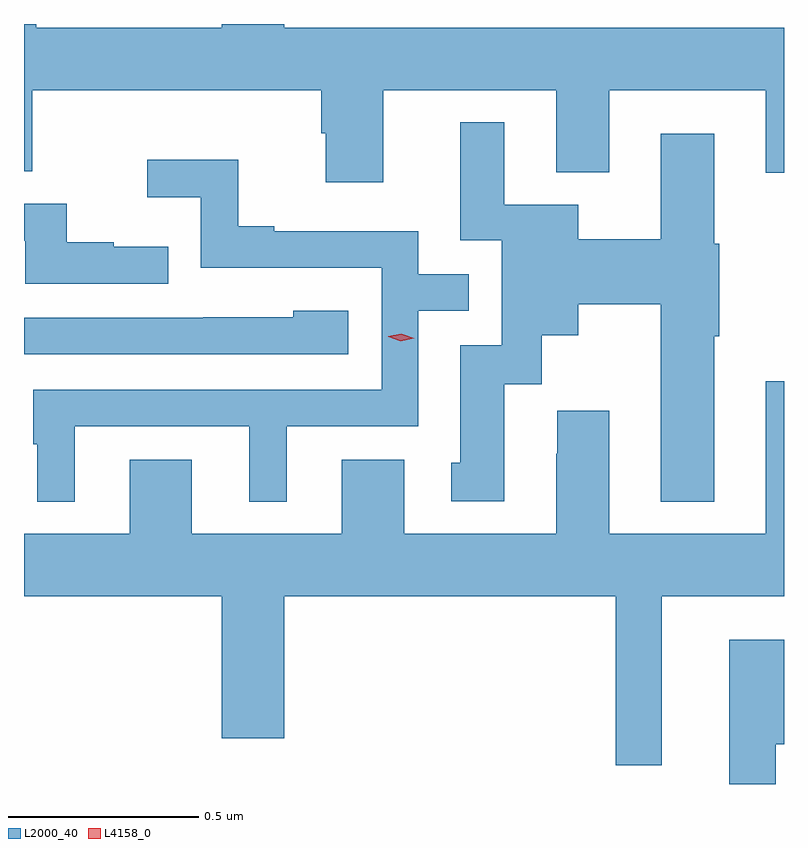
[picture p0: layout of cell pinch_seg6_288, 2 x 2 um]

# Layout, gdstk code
import gdstk
lib = gdstk.Library(unit=1e-6, precision=1e-09)
def P(c, l, *ps):  # polygons
    for p in ps: c.add(gdstk.Polygon(p, *l))
L2000_40 = (2000, 40)
L4158_0 = (4158, 0)

pinch_seg6_288 = lib.new_cell('pinch_seg6_288')
P(pinch_seg6_288, L2000_40, [(872.725,992.624),(873.179,992.624),(873.179,992.408),(873.319,992.408),(873.319,992.624),(873.731,992.624),(873.731,992.406),(873.779,992.406),(873.779,992.788),(872.464,992.788),(872.464,992.798),(872.3,992.798),(872.3,992.788),(871.811,992.788),(871.811,992.798),(871.779,992.798),(871.779,992.41),(871.801,992.41),(871.801,992.624),(872.561,992.624),(872.561,992.511),(872.573,992.511),(872.573,992.382),(872.725,992.382)],
  [(873.595,991.976),(873.608,991.976),(873.608,992.22),(873.595,992.22),(873.595,992.509),(873.455,992.509),(873.455,992.232),(873.238,992.232),(873.238,992.323),(873.043,992.323),(873.043,992.539),(872.927,992.539),(872.927,992.229),(873.036,992.229),(873.036,991.953),(872.927,991.953),(872.927,991.644),(872.903,991.644),(872.903,991.542),(873.043,991.542),(873.043,991.85),(873.141,991.85),(873.141,991.979),(873.238,991.979),(873.238,992.06),(873.455,992.06),(873.455,991.541),(873.595,991.541)],
  [(871.912,991.74),(872.372,991.74),(872.372,991.541),(872.47,991.541),(872.47,991.74),(872.817,991.74),(872.817,992.043),(872.95,992.043),(872.95,992.139),(872.817,992.139),(872.817,992.253),(872.437,992.253),(872.437,992.266),(872.343,992.266),(872.343,992.441),(872.103,992.441),(872.103,992.342),(872.244,992.342),(872.244,992.157),(872.721,992.157),(872.721,991.836),(871.803,991.836),(871.803,991.692),(871.814,991.692),(871.814,991.541),(871.912,991.541)],
  [(872.159,992.212),(872.015,992.212),(872.015,992.224),(871.892,992.224),(871.892,992.325),(871.779,992.325),(871.779,992.228),(871.782,992.228),(871.782,992.115),(872.159,992.115)],
  [(872.632,992.044),(872.487,992.044),(872.487,992.026),(872.251,992.026),(872.251,992.025),(871.779,992.025),(871.779,991.929),(872.632,991.929)],
  [(873.457,991.292),(873.779,991.292),(873.779,991.858),(873.731,991.858),(873.731,991.456),(873.319,991.456),(873.319,991.78),(873.182,991.78),(873.182,991.667),(873.179,991.667),(873.179,991.456),(872.779,991.456),(872.779,991.651),(872.615,991.651),(872.615,991.456),(872.221,991.456),(872.221,991.651),(872.057,991.651),(872.057,991.456),(871.779,991.456),(871.779,991.292),(872.3,991.292),(872.3,990.918),(872.464,990.918),(872.464,991.292),(873.336,991.292),(873.336,990.848),(873.457,990.848)],
  [(873.757,990.902),(873.779,990.902),(873.779,991.177),(873.635,991.177),(873.635,990.798),(873.757,990.798)])
P(pinch_seg6_288, L4158_0, [(872.77,991.963),(872.737,991.975),(872.737,991.976),(872.737,991.976),(872.772,991.983),(872.806,991.971),(872.806,991.971),(872.806,991.971)])

lib.write_gds('pinch_seg6_288.gds')
